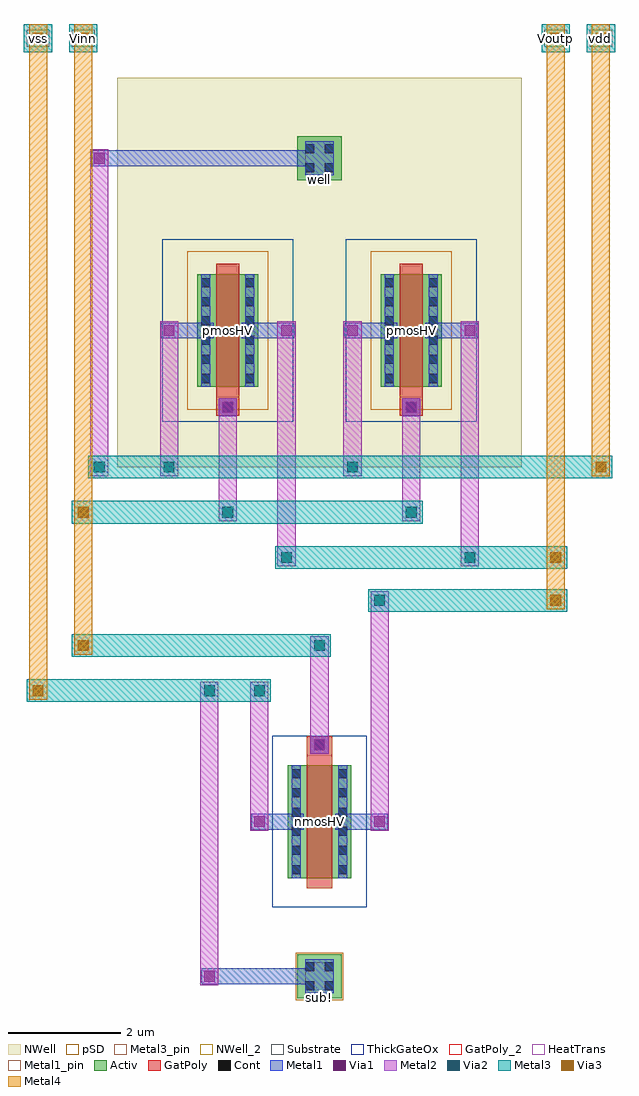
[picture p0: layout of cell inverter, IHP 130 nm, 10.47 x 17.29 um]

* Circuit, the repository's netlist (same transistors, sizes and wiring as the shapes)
** sch_path: /home/arjun/eda/projects/SAR_ADC/circuit_files/sar_adc_test/xschem/inverter.sch
.subckt inverter vdd Vinn Voutp vss
*.PININFO vdd:B vss:B Vinn:I Voutp:O
MM12 Voutp Vinn vss vss sg13_hv_nmos w=2u l=0.45u ng=1
MM16 Voutp Vinn vdd vdd sg13_hv_pmos w=2u l=0.4u ng=1 m=2
.ends

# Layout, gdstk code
import gdstk
lib = gdstk.Library(unit=1e-6, precision=1e-09)
def R(c, l, rs):  # rectangles x0, y0, x1, y1
    for r in rs: c.add(gdstk.rectangle(r[:2], r[2:], *l))
def A(c, l, x, y, w, h, nx, ny, dx, dy):  # array of equal rectangles
    R(c, l, [(x+i*dx, y+j*dy, x+i*dx+w, y+j*dy+h) for i in range(nx) for j in range(ny)])
Activ = (1, 0)
GatPoly = (5, 0)
GatPoly_2 = (5, 2)
Cont = (6, 0)
Metal1 = (8, 0)
Metal1_pin = (8, 2)
Metal2 = (10, 0)
pSD = (14, 0)
Via1 = (19, 0)
Via2 = (29, 0)
Metal3 = (30, 0)
Metal3_pin = (30, 2)
NWell = (31, 0)
NWell_2 = (31, 2)
Substrate = (40, 0)
ThickGateOx = (44, 0)
Via3 = (49, 0)
Metal4 = (50, 0)
HeatTrans = (51, 0)

inverter = lib.new_cell('inverter')
R(inverter, Activ, [(-0.39,-7.48,0.39,-6.7), (-0.565,-5.35,-0.265,-5.05), (-0.565,-5.35,0.565,-3.35), (0.265,-5.35,0.565,-5.05), (-2.165,3.35,-1.865,3.65), (-2.165,3.35,-1.085,5.35), (-1.385,3.35,-1.085,3.65), (1.085,3.35,1.385,3.65), (1.085,3.35,2.165,5.35), (1.865,3.35,2.165,3.65), (-0.39,7.01,0.39,7.79)])
R(inverter, GatPoly, [(-0.225,-5.53,0.225,-3.17), (-0.225,-3.19,0.225,-2.84), (-1.825,2.84,-1.425,3.19), (1.425,2.84,1.825,3.19), (-1.825,3.17,-1.425,5.53), (1.425,3.17,1.825,5.53)])
R(inverter, GatPoly_2, [(-0.225,-5.53,0.225,-3.17), (-1.825,3.17,-1.425,5.53), (1.425,3.17,1.825,5.53)])
A(inverter, Cont, -0.495, -5.28, 0.16, 0.16, 1, 6, 0, 0.34)
A(inverter, Cont, 0.335, -5.28, 0.16, 0.16, 1, 6, 0, 0.34)
A(inverter, Cont, -2.095, 3.42, 0.16, 0.16, 1, 6, 0, 0.34)
A(inverter, Cont, -1.315, 3.42, 0.16, 0.16, 1, 6, 0, 0.34)
A(inverter, Cont, 1.155, 3.42, 0.16, 0.16, 1, 6, 0, 0.34)
A(inverter, Cont, 1.935, 3.42, 0.16, 0.16, 1, 6, 0, 0.34)
R(inverter, Cont, [(-0.25,-7.34,-0.09,-7.18), (0.09,-7.34,0.25,-7.18), (-0.25,-7,-0.09,-6.84), (0.09,-7,0.25,-6.84), (-0.08,-3.07,0.08,-2.91), (-1.705,2.91,-1.545,3.07), (1.545,2.91,1.705,3.07), (-0.25,7.15,-0.09,7.31), (0.09,7.15,0.25,7.31), (-0.25,7.49,-0.09,7.65), (0.09,7.49,0.25,7.65)])
R(inverter, Metal1, [(-0.25,-7.39,0.25,-6.79), (-0.25,-7.34,0.25,-6.84), (-2.09,-7.23,0.14,-6.95), (-2.095,-7.195,-1.805,-6.985), (-0.495,-5.35,-0.335,-3.35), (0.335,-5.35,0.495,-3.35), (-1.205,-4.49,-0.275,-4.21), (0.275,-4.49,1.205,-4.21), (-1.21,-4.455,-0.92,-4.245), (0.92,-4.455,1.21,-4.245), (-0.16,-3.15,0.16,-2.83), (-0.145,-3.095,0.145,-2.885), (-1.785,2.83,-1.465,3.15), (1.465,2.83,1.785,3.15), (-1.77,2.885,-1.48,3.095), (1.48,2.885,1.77,3.095), (-2.095,3.35,-1.935,5.35), (-1.315,3.35,-1.155,5.35), (1.155,3.35,1.315,5.35), (1.935,3.35,2.095,5.35), (-2.805,4.21,-1.875,4.49), (-1.375,4.21,-0.445,4.49), (0.445,4.21,1.375,4.49), (1.875,4.21,2.805,4.49), (-2.81,4.245,-2.52,4.455), (-0.73,4.245,-0.44,4.455), (0.44,4.245,0.73,4.455), (2.52,4.245,2.81,4.455), (-0.25,7.1,0.25,7.7), (-4.04,7.26,0.14,7.54), (-4.045,7.295,-3.755,7.505)])
R(inverter, Metal1_pin, [(-0.25,-7.34,0.25,-6.84), (-0.495,-5.35,-0.335,-3.35), (0.335,-5.35,0.495,-3.35), (-2.095,3.35,-1.935,5.35), (-1.315,3.35,-1.155,5.35), (1.155,3.35,1.315,5.35), (1.935,3.35,2.095,5.35), (-0.25,7.1,0.25,7.7), (-0.25,7.15,0.25,7.65)])
R(inverter, Metal2, [(-2.11,-7.25,-1.79,-1.87), (-2.095,-7.19,-1.805,-6.99), (-1.225,-4.51,-0.905,-1.87), (0.905,-4.51,1.225,-0.27), (-1.21,-4.45,-0.92,-4.25), (0.92,-4.45,1.21,-4.25), (-0.16,-3.15,0.16,-1.07), (-0.145,-3.09,0.145,-2.89), (-2.095,-2.13,-1.805,-1.93), (-1.21,-2.13,-0.92,-1.93), (-0.145,-1.33,0.145,-1.13), (0.92,-0.53,1.21,-0.33), (-0.745,0.17,-0.425,4.51), (2.505,0.17,2.825,4.51), (-0.73,0.23,-0.44,0.43), (2.52,0.23,2.81,0.43), (-1.785,0.97,-1.465,3.15), (1.465,0.97,1.785,3.15), (-1.77,1.03,-1.48,1.23), (1.48,1.03,1.77,1.23), (-4.06,1.77,-3.74,7.56), (-2.825,1.77,-2.505,4.51), (0.425,1.77,0.745,4.51), (-4.045,1.83,-3.755,2.03), (-2.81,1.83,-2.52,2.03), (0.44,1.83,0.73,2.03), (-1.77,2.89,-1.48,3.09), (1.48,2.89,1.77,3.09), (-2.81,4.25,-2.52,4.45), (-0.73,4.25,-0.44,4.45), (0.44,4.25,0.73,4.45), (2.52,4.25,2.81,4.45), (-4.045,7.3,-3.755,7.5)])
R(inverter, pSD, [(-0.42,-7.51,0.42,-6.67), (-2.345,2.95,-0.905,5.75), (0.905,2.95,2.345,5.75)])
R(inverter, Via1, [(-2.045,-7.185,-1.855,-6.995), (-1.16,-4.445,-0.97,-4.255), (0.97,-4.445,1.16,-4.255), (-0.095,-3.085,0.095,-2.895), (-1.72,2.895,-1.53,3.085), (1.53,2.895,1.72,3.085), (-2.76,4.255,-2.57,4.445), (-0.68,4.255,-0.49,4.445), (0.49,4.255,0.68,4.445), (2.57,4.255,2.76,4.445), (-3.995,7.305,-3.805,7.495)])
R(inverter, Via2, [(-2.045,-2.125,-1.855,-1.935), (-1.16,-2.125,-0.97,-1.935), (-0.095,-1.325,0.095,-1.135), (0.97,-0.525,1.16,-0.335), (-0.68,0.235,-0.49,0.425), (2.57,0.235,2.76,0.425), (-1.72,1.035,-1.53,1.225), (1.53,1.035,1.72,1.225), (-3.995,1.835,-3.805,2.025), (-2.76,1.835,-2.57,2.025), (0.49,1.835,0.68,2.025)])
R(inverter, Metal3, [(-5.185,-2.23,-0.865,-1.83), (-5.13,-2.13,-4.84,-1.93), (-2.095,-2.13,-1.805,-1.93), (-1.21,-2.13,-0.92,-1.93), (-4.385,-1.43,0.2,-1.03), (-4.33,-1.33,-4.04,-1.13), (-0.145,-1.33,0.145,-1.13), (0.865,-0.63,4.385,-0.23), (0.92,-0.53,1.21,-0.33), (4.04,-0.53,4.33,-0.33), (-0.785,0.13,4.385,0.53), (-0.73,0.23,-0.44,0.43), (2.52,0.23,2.81,0.43), (4.04,0.23,4.33,0.43), (-4.385,0.93,1.825,1.33), (-4.33,1.03,-4.04,1.23), (-1.77,1.03,-1.48,1.23), (1.48,1.03,1.77,1.23), (-4.1,1.73,5.185,2.13), (-4.045,1.83,-3.755,2.03), (-2.81,1.83,-2.52,2.03), (0.44,1.83,0.73,2.03), (4.84,1.83,5.13,2.03), (-5.235,9.28,-4.735,9.78), (-4.435,9.28,-3.935,9.78), (3.935,9.28,4.435,9.78), (4.735,9.28,5.235,9.78), (-5.13,9.43,-4.84,9.63), (-4.33,9.43,-4.04,9.63), (4.04,9.43,4.33,9.63), (4.84,9.43,5.13,9.63)])
R(inverter, Metal3_pin, [(-5.185,9.38,-4.785,9.68), (-4.385,9.38,-3.985,9.68), (3.985,9.38,4.385,9.68), (4.785,9.38,5.185,9.68)])
R(inverter, NWell, [(-3.585,1.93,3.585,8.83), (-2.785,2.73,-0.465,5.97), (0.465,2.73,2.785,5.97), (-0.63,6.77,0.63,8.03), (-0.39,7.01,0.39,7.79)])
R(inverter, NWell_2, [(-0.39,7.01,0.39,7.79)])
R(inverter, Substrate, [(-0.39,-7.48,0.39,-6.7)])
R(inverter, ThickGateOx, [(-0.835,-5.87,0.835,-2.83), (-2.785,2.73,-0.465,5.97), (0.465,2.73,2.785,5.97)])
R(inverter, Via3, [(-5.08,-2.125,-4.89,-1.935), (-4.28,-1.325,-4.09,-1.135), (4.09,-0.525,4.28,-0.335), (4.09,0.235,4.28,0.425), (-4.28,1.035,-4.09,1.225), (4.89,1.835,5.08,2.025), (-5.08,9.435,-4.89,9.625), (-4.28,9.435,-4.09,9.625), (4.09,9.435,4.28,9.625), (4.89,9.435,5.08,9.625)])
R(inverter, Metal4, [(-5.145,-2.19,-4.825,9.78), (-5.13,-2.13,-4.84,-1.93), (-4.345,-1.39,-4.025,9.78), (-4.33,-1.33,-4.04,-1.13), (4.025,-0.59,4.345,9.78), (4.04,-0.53,4.33,-0.33), (4.04,0.23,4.33,0.43), (-4.33,1.03,-4.04,1.23), (4.825,1.77,5.145,9.78), (4.84,1.83,5.13,2.03), (-5.13,9.43,-4.84,9.63), (-4.33,9.43,-4.04,9.63), (4.04,9.43,4.33,9.63), (4.84,9.43,5.13,9.63)])
R(inverter, HeatTrans, [(-0.225,-5.53,0.225,-3.17), (-1.825,3.17,-1.425,5.53), (1.425,3.17,1.825,5.53)])
inverter.add(gdstk.Label('pmosHV', (-1.625,4.35), layer=63, texttype=0))
inverter.add(gdstk.Label('pmosHV', (1.625,4.35), layer=63, texttype=0))
inverter.add(gdstk.Label('nmosHV', (0,-4.35), layer=63, texttype=0))
inverter.add(gdstk.Label('well', (0,7.02), layer=63, texttype=0))
inverter.add(gdstk.Label('sub!', (0,-7.47), layer=63, texttype=0))
inverter.add(gdstk.Label('pmos', (-1.625,4.35), layer=51, texttype=0))
inverter.add(gdstk.Label('pmos', (1.625,4.35), layer=51, texttype=0))
inverter.add(gdstk.Label('nmosHV', (0,-4.35), layer=51, texttype=0))
inverter.add(gdstk.Label('well', (0,7.02), layer=31, texttype=0))
inverter.add(gdstk.Label('sub!', (0,-7.47), layer=40, texttype=0))
inverter.add(gdstk.Label('vdd', (4.985,9.53), layer=30, texttype=25))
inverter.add(gdstk.Label('Vinn', (-4.185,9.53), layer=30, texttype=25))
inverter.add(gdstk.Label('Voutp', (4.185,9.53), layer=30, texttype=25))
inverter.add(gdstk.Label('vss', (-4.985,9.53), layer=30, texttype=25))

lib.write_gds('inverter.gds')
